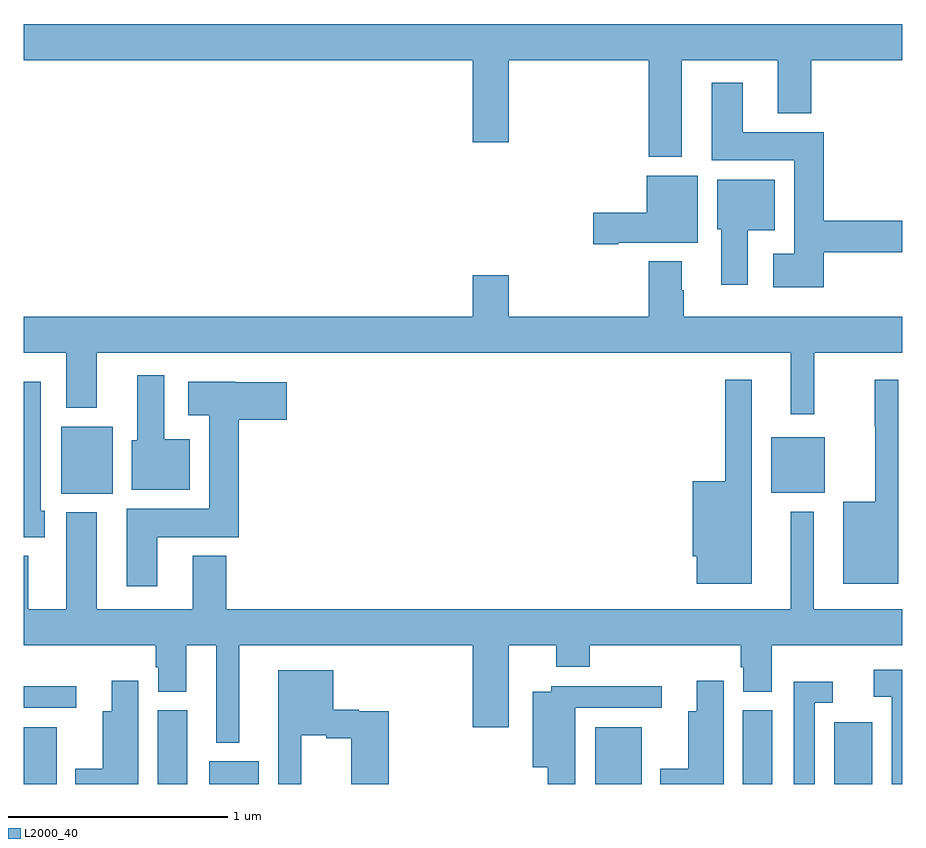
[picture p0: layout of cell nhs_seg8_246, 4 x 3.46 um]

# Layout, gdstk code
import gdstk
lib = gdstk.Library(unit=1e-6, precision=1e-09)
def R(c, l, rs):  # rectangles x0, y0, x1, y1
    for r in rs: c.add(gdstk.rectangle(r[:2], r[2:], *l))
def P(c, l, *ps):  # polygons
    for p in ps: c.add(gdstk.Polygon(p, *l))
L2000_40 = (2000, 40)

nhs_seg8_246 = lib.new_cell('nhs_seg8_246')
R(nhs_seg8_246, L2000_40, [(127,1083.9,127.15,1084.159), (127.61,1083.9,127.744,1084.236), (127.844,1083.9,128.071,1084.003), (129.602,1083.9,129.814,1084.159), (130.274,1083.9,130.408,1084.236), (130.691,1083.9,130.864,1084.18), (127,1084.248,127.24,1084.346), (127.172,1085.222,127.405,1085.527), (130.403,1085.225,130.648,1085.479)])
P(nhs_seg8_246, L2000_40, [(129.997,1087.196),(130.433,1087.196),(130.433,1086.953),(130.586,1086.953),(130.586,1087.196),(131,1087.196),(131,1087.36),(127,1087.36),(127,1087.196),(129.044,1087.196),(129.044,1086.822),(129.208,1086.822),(129.208,1087.196),(129.845,1087.196),(129.845,1086.755),(129.997,1086.755)],
  [(130.643,1086.322),(131,1086.322),(131,1086.464),(130.643,1086.464),(130.643,1086.868),(130.273,1086.868),(130.273,1087.093),(130.133,1087.093),(130.133,1086.74),(130.508,1086.74),(130.508,1086.313),(130.413,1086.313),(130.413,1086.161),(130.643,1086.161)],
  [(129.706,1086.365),(130.069,1086.365),(130.069,1086.67),(129.836,1086.67),(129.836,1086.5),(129.594,1086.5),(129.594,1086.358),(129.706,1086.358)],
  [(130.297,1086.422),(130.42,1086.422),(130.42,1086.652),(130.157,1086.652),(130.157,1086.426),(130.175,1086.426),(130.175,1086.174),(130.297,1086.174)],
  [(130.6,1085.864),(131,1085.864),(131,1086.028),(130.005,1086.028),(130.005,1086.149),(129.997,1086.149),(129.997,1086.28),(129.845,1086.28),(129.845,1086.028),(129.208,1086.028),(129.208,1086.217),(129.044,1086.217),(129.044,1086.028),(127,1086.028),(127,1085.864),(127.193,1085.864),(127.193,1085.612),(127.333,1085.612),(127.333,1085.864),(130.493,1085.864),(130.493,1085.583),(130.6,1085.583)],
  [(127.756,1085.47),(127.639,1085.47),(127.639,1085.761),(127.517,1085.761),(127.517,1085.466),(127.493,1085.466),(127.493,1085.24),(127.756,1085.24)],
  [(130.315,1085.74),(130.194,1085.74),(130.194,1085.278),(130.046,1085.278),(130.046,1084.938),(130.064,1084.938),(130.064,1084.811),(130.315,1084.811)],
  [(130.981,1085.74),(130.875,1085.74),(130.875,1085.527),(130.877,1085.527),(130.877,1085.185),(130.73,1085.185),(130.73,1084.811),(130.981,1084.811)],
  [(127.096,1085.145),(127.078,1085.145),(127.078,1085.731),(127,1085.731),(127,1085.024),(127.096,1085.024)],
  [(127.609,1085.024),(127.979,1085.024),(127.979,1085.558),(128.197,1085.558),(128.197,1085.728),(127.962,1085.728),(127.962,1085.731),(127.749,1085.731),(127.749,1085.579),(127.844,1085.579),(127.844,1085.152),(127.469,1085.152),(127.469,1084.8),(127.609,1084.8)],
  [(131,1084.696),(130.597,1084.696),(130.597,1085.14),(130.493,1085.14),(130.493,1084.696),(127.922,1084.696),(127.922,1084.939),(127.769,1084.939),(127.769,1084.696),(127.333,1084.696),(127.333,1085.137),(127.193,1085.137),(127.193,1084.696),(127.021,1084.696),(127.021,1084.939),(127,1084.939),(127,1084.532),(127.601,1084.532),(127.601,1084.431),(127.613,1084.431),(127.613,1084.321),(127.741,1084.321),(127.741,1084.532),(127.877,1084.532),(127.877,1084.088),(127.981,1084.088),(127.981,1084.532),(129.044,1084.532),(129.044,1084.158),(129.208,1084.158),(129.208,1084.532),(129.425,1084.532),(129.425,1084.433),(129.578,1084.433),(129.578,1084.532),(130.265,1084.532),(130.265,1084.431),(130.277,1084.431),(130.277,1084.321),(130.405,1084.321),(130.405,1084.532),(131,1084.532)],
  [(131,1084.42),(130.869,1084.42),(130.869,1084.298),(130.952,1084.298),(130.952,1083.9),(131,1083.9)],
  [(128.263,1084.121),(128.378,1084.121),(128.378,1084.109),(128.492,1084.109),(128.492,1083.9),(128.663,1083.9),(128.663,1084.231),(128.526,1084.231),(128.526,1084.239),(128.41,1084.239),(128.41,1084.417),(128.159,1084.417),(128.159,1083.9),(128.263,1083.9)],
  [(130.186,1084.369),(130.064,1084.369),(130.064,1084.231),(130.025,1084.231),(130.025,1083.97),(129.899,1083.97),(129.899,1083.9),(130.186,1083.9)],
  [(127.522,1084.369),(127.4,1084.369),(127.4,1084.231),(127.361,1084.231),(127.361,1083.97),(127.235,1083.97),(127.235,1083.9),(127.522,1083.9)],
  [(130.602,1084.269),(130.684,1084.269),(130.684,1084.366),(130.506,1084.366),(130.506,1083.9),(130.602,1083.9)],
  [(129.511,1084.248),(129.904,1084.248),(129.904,1084.346),(129.402,1084.346),(129.402,1084.321),(129.317,1084.321),(129.317,1083.977),(129.386,1083.977),(129.386,1083.9),(129.511,1083.9)])

lib.write_gds('nhs_seg8_246.gds')
